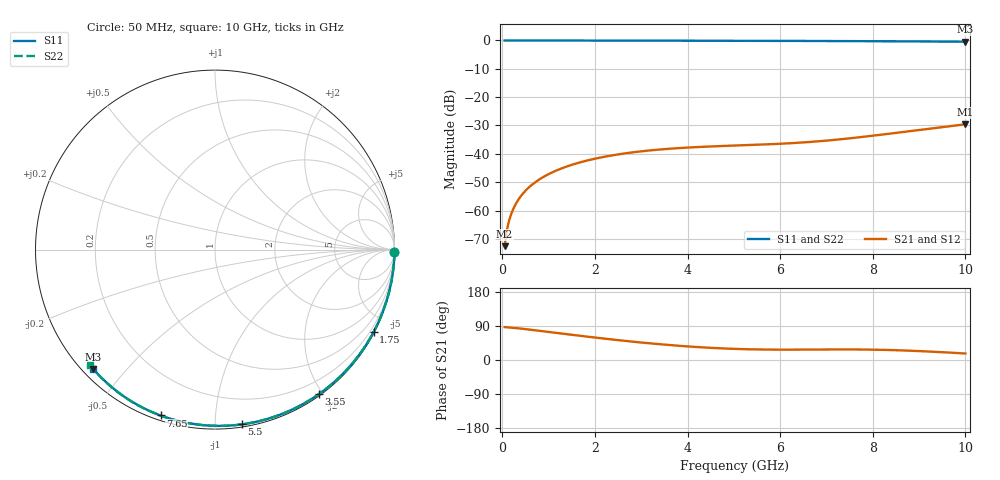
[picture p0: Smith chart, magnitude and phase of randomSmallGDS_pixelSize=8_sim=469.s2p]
! freq	dB(S11)	phase(S11)	dB(S12)	phase(S12)
!  dB(S21)	phase(S21)	dB(S22)	phase(S22)
!S-par simulation data
#  GHz  S  DB  R 50
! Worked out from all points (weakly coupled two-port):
!   200 points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, 50 MHz to 10 GHz, reference 50 ohm
!   highest |S21| = -29.58 dB at 10 GHz (marker M1); lowest = -72.6 dB at 50 MHz (marker M2)
!   lowest |S11| = -0.4 dB at 10 GHz (marker M3), VSWR 38.77, Z = 1.51 - j20.4 ohm
!   |S11| at or under -10 dB: nowhere
!   |S22| runs from -0.5 to 0.0 dB; largest |S21 - S12| = 0
!   S11 on the Smith chart (normalised r, x): 50 MHz: open; 1.75 GHz: 0.04, -4.09; 3.55 GHz: 0.02, -1.95; 5.5 GHz: 0.02, -1.17; 7.65 GHz: 0.02, -0.72; 10 GHz: 0.03, -0.41
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0.05  -0.00 -0.8  -72.57 86.9  -72.57 86.9  -0.00 -0.8
0.1  -0.00 -1.6  -66.78 86.4  -66.78 86.4  -0.00 -1.6
0.15  -0.00 -2.4  -63.35 86.0  -63.35 86.0  -0.00 -2.4
0.2  -0.00 -3.2  -60.90 85.6  -60.90 85.6  -0.00 -3.2
0.25  -0.00 -4.0  -58.98 85.0  -58.98 85.0  -0.00 -4.0
0.35  -0.00 -5.6  -56.09 83.7  -56.09 83.7  -0.00 -5.7
0.5  -0.01 -8.0  -53.02 81.5  -53.02 81.5  -0.01 -8.1
0.7  -0.01 -11.1  -50.15 78.6  -50.15 78.6  -0.01 -11.3
1  -0.02 -15.8  -47.16 74.0  -47.16 74.0  -0.02 -16.1
1.35  -0.03 -21.3  -44.71 68.7  -44.71 68.7  -0.03 -21.6
1.75  -0.03 -27.5  -42.70 62.8  -42.70 62.8  -0.04 -27.8
2.5  -0.05 -38.9  -40.20 52.4  -40.20 52.4  -0.05 -39.4
3.4  -0.07 -52.2  -38.47 41.6  -38.47 41.6  -0.07 -52.9
3.55  -0.07 -54.3  -38.28 40.1  -38.28 40.1  -0.07 -55.0
4.3  -0.09 -65.0  -37.54 33.5  -37.54 33.5  -0.09 -65.8
5.05  -0.11 -75.2  -37.06 29.2  -37.06 29.2  -0.12 -76.2
5.5  -0.13 -81.2  -36.80 27.8  -36.80 27.8  -0.13 -82.2
6.7  -0.18 -96.6  -35.74 27.6  -35.74 27.6  -0.19 -97.8
7.65  -0.24 -108.2  -34.27 27.8  -34.27 27.8  -0.24 -109.5
8.35  -0.29 -116.5  -32.91 26.4  -32.91 26.4  -0.30 -117.9
9.2  -0.37 -126.3  -31.17 22.4  -31.17 22.4  -0.37 -127.9
10  -0.45 -135.5  -29.58 17.1  -29.58 17.1  -0.45 -137.2
